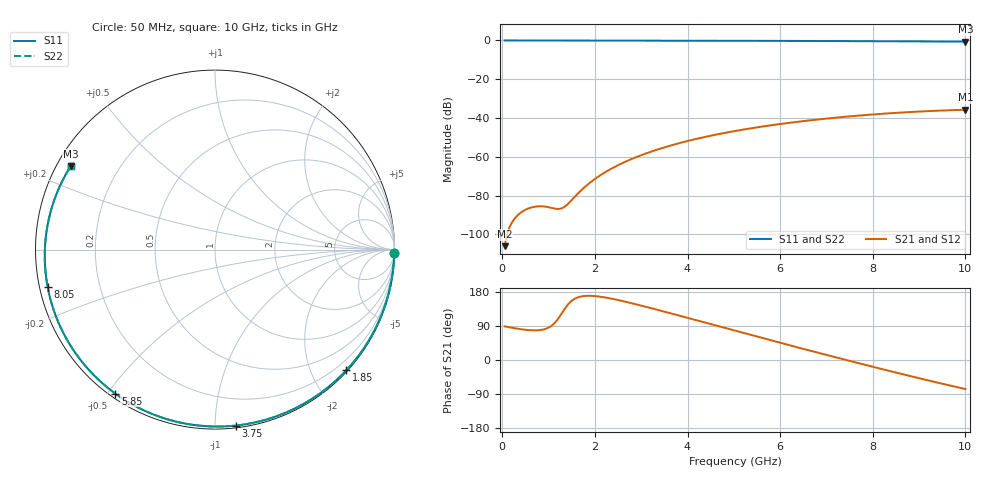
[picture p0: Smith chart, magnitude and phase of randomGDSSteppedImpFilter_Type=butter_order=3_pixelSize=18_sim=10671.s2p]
! freq	dB(S11)	phase(S11)	dB(S12)	phase(S12)
!  dB(S21)	phase(S21)	dB(S22)	phase(S22)
!S-par simulation data
#  GHz  S  DB  R 50
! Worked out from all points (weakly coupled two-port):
!   200 points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, 50 MHz to 10 GHz, reference 50 ohm
!   highest |S21| = -35.74 dB at 10 GHz (marker M1); lowest = -106.1 dB at 50 MHz (marker M2)
!   lowest |S11| = -0.6 dB at 10 GHz (marker M3), VSWR 27.17, Z = 1.97 + j13.4 ohm
!   |S11| at or under -10 dB: nowhere
!   |S22| runs from -0.6 to 0.0 dB; largest |S21 - S12| = 0
!   S11 on the Smith chart (normalised r, x): 50 MHz: open; 1.85 GHz: 0.02, -2.57; 3.75 GHz: 0.01, -1.13; 5.85 GHz: 0.02, -0.52; 8.05 GHz: 0.02, -0.11; 10 GHz: 0.04, +0.27
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0.05  -0.00 -1.1  -106.10 88.8  -106.10 88.8  -0.00 -1.1
0.8  -0.02 -18.6  -85.52 78.8  -85.52 78.8  -0.02 -18.6
1.55  -0.05 -35.8  -81.01 160.6  -81.01 160.6  -0.05 -35.8
1.6  -0.05 -36.9  -79.75 163.7  -79.75 163.7  -0.05 -36.9
1.75  -0.05 -40.3  -76.26 168.6  -76.26 168.6  -0.05 -40.3
1.85  -0.05 -42.5  -74.19 169.4  -74.19 169.4  -0.05 -42.5
2.15  -0.06 -49.2  -69.01 166.4  -69.01 166.4  -0.06 -49.2
2.5  -0.07 -56.9  -64.33 158.2  -64.33 158.2  -0.07 -56.9
2.9  -0.08 -65.5  -60.09 146.7  -60.09 146.7  -0.08 -65.5
3.4  -0.10 -76.0  -55.88 130.9  -55.88 130.9  -0.10 -76.0
3.75  -0.11 -83.2  -53.42 119.4  -53.42 119.4  -0.11 -83.2
4.4  -0.14 -96.4  -49.64 98.0  -49.64 98.0  -0.14 -96.4
5.05  -0.17 -109.2  -46.60 76.5  -46.60 76.5  -0.17 -109.2
5.85  -0.21 -124.7  -43.59 50.3  -43.59 50.3  -0.21 -124.7
6.7  -0.27 -141.0  -41.06 22.9  -41.06 22.9  -0.27 -141.0
7.4  -0.33 -154.6  -39.37 0.8  -39.37 0.8  -0.33 -154.6
8.05  -0.40 -167.5  -38.08 -19.4  -38.08 -19.4  -0.40 -167.5
8.35  -0.43 -173.6  -37.58 -28.6  -37.58 -28.6  -0.43 -173.6
8.8  -0.48 177.0  -36.92 -42.1  -36.92 -42.1  -0.48 177.0
9.2  -0.53 168.3  -36.44 -54.0  -36.44 -54.0  -0.53 168.3
9.6  -0.58 159.3  -36.04 -65.5  -36.04 -65.5  -0.58 159.3
10  -0.64 149.9  -35.74 -76.7  -35.74 -76.7  -0.64 149.9
